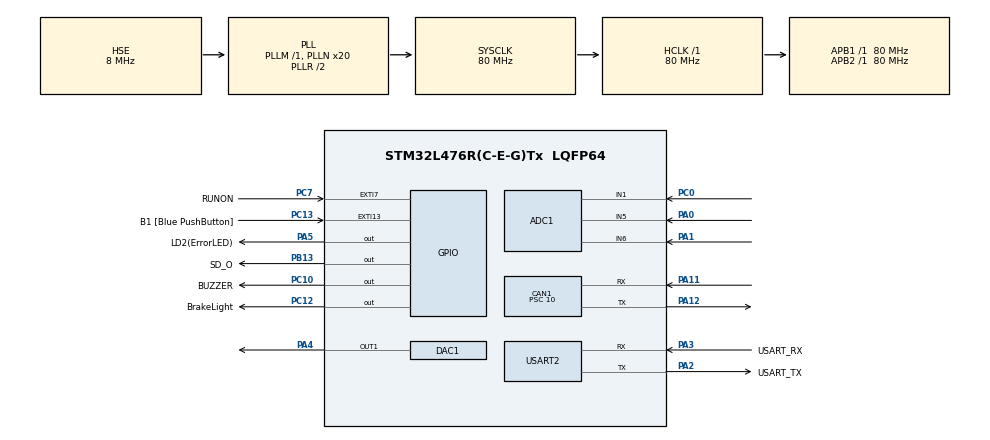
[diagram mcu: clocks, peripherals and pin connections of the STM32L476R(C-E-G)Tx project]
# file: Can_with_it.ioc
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ADC1.Channel-10\#ChannelRegularConversion=ADC_CHANNEL_1
ADC1.Channel-7\#ChannelRegularConversion=ADC_CHANNEL_5
ADC1.Channel-8\#ChannelRegularConversion=ADC_CHANNEL_6
ADC1.ContinuousConvMode=ENABLE
ADC1.DMAContinuousRequests=ENABLE
ADC1.ExternalTrigConv=ADC_EXTERNALTRIG_T6_TRGO
ADC1.ExternalTrigConvEdge=ADC_EXTERNALTRIGCONVEDGE_RISINGFALLING
ADC1.NbrOfConversion=3
ADC1.NbrOfConversionFlag=1
ADC1.OffsetNumber-10\#ChannelRegularConversion=ADC_OFFSET_NONE
ADC1.OffsetNumber-7\#ChannelRegularConversion=ADC_OFFSET_NONE
ADC1.OffsetNumber-8\#ChannelRegularConversion=ADC_OFFSET_NONE
ADC1.Overrun=ADC_OVR_DATA_PRESERVED
ADC1.Rank-10\#ChannelRegularConversion=3
ADC1.Rank-7\#ChannelRegularConversion=1
ADC1.Rank-8\#ChannelRegularConversion=2
ADC1.SamplingTime-10\#ChannelRegularConversion=ADC_SAMPLETIME_247CYCLES_5
ADC1.SamplingTime-7\#ChannelRegularConversion=ADC_SAMPLETIME_247CYCLES_5
ADC1.SamplingTime-8\#ChannelRegularConversion=ADC_SAMPLETIME_247CYCLES_5
ADC1.master=1
CAN1.BS1=CAN_BS1_13TQ
CAN1.BS2=CAN_BS2_2TQ
CAN1.CalculateBaudRate=500000
CAN1.CalculateTimeBit=2000
CAN1.CalculateTimeQuantum=125.0
CAN1.Mode=CAN_MODE_NORMAL
CAN1.Prescaler=10
DAC1.DAC_Trigger-DAC_OUT1=DAC_TRIGGER_T6_TRGO
Dma.ADC1.0.Direction=DMA_PERIPH_TO_MEMORY
Dma.ADC1.0.Instance=DMA1_Channel1
Dma.ADC1.0.MemDataAlignment=DMA_MDATAALIGN_WORD
Dma.ADC1.0.MemInc=DMA_MINC_ENABLE
Dma.ADC1.0.Mode=DMA_CIRCULAR
Dma.ADC1.0.PeriphDataAlignment=DMA_PDATAALIGN_WORD
Dma.ADC1.0.PeriphInc=DMA_PINC_DISABLE
Dma.ADC1.0.Priority=DMA_PRIORITY_VERY_HIGH
Dma.DAC_CH1.1.Direction=DMA_MEMORY_TO_PERIPH
Dma.DAC_CH1.1.Instance=DMA1_Channel3
Dma.DAC_CH1.1.MemDataAlignment=DMA_MDATAALIGN_HALFWORD
Dma.DAC_CH1.1.MemInc=DMA_MINC_ENABLE
Dma.DAC_CH1.1.Mode=DMA_CIRCULAR
Dma.DAC_CH1.1.PeriphDataAlignment=DMA_PDATAALIGN_HALFWORD
Dma.DAC_CH1.1.PeriphInc=DMA_PINC_DISABLE
Dma.DAC_CH1.1.Priority=DMA_PRIORITY_HIGH
Dma.Request0=ADC1
Dma.Request1=DAC_CH1
Mcu.Family=STM32L4
Mcu.Name=STM32L476R(C-E-G)Tx
Mcu.Package=LQFP64
NVIC.CAN1_RX0_IRQn=true\:1\:0\:true\:false\:true\:true\:true\:true
NVIC.CAN1_RX1_IRQn=true\:1\:0\:true\:false\:true\:true\:true\:true
NVIC.CAN1_SCE_IRQn=true\:1\:0\:true\:false\:true\:true\:true\:true
NVIC.CAN1_TX_IRQn=true\:1\:0\:true\:false\:true\:true\:true\:true
NVIC.DMA1_Channel1_IRQn=true\:0\:0\:true\:false\:true\:false\:true\:true
NVIC.DMA1_Channel3_IRQn=true\:0\:0\:true\:false\:true\:false\:true\:true
NVIC.EXTI15_10_IRQn=true\:0\:0\:false\:false\:true\:true\:true\:true
NVIC.PriorityGroup=NVIC_PRIORITYGROUP_4
NVIC.TIM6_DAC_IRQn=true\:0\:0\:true\:false\:true\:true\:true\:true
NVIC.USART2_IRQn=true\:2\:0\:true\:false\:true\:true\:true\:true
PA0.Signal=ADCx_IN5
PA1.Signal=ADCx_IN6
PA11.GPIO_PuPd=GPIO_NOPULL
PA11.Mode=CAN_Activate
PA11.Signal=CAN1_RX
PA12.GPIO_PuPd=GPIO_PULLUP
PA12.Mode=CAN_Activate
PA12.Signal=CAN1_TX
PA13\ (JTMS-SWDIO).GPIO_Label=TMS
PA13\ (JTMS-SWDIO).Mode=Serial_Wire
PA13\ (JTMS-SWDIO).Signal=SYS_JTMS-SWDIO
PA14\ (JTCK-SWCLK).GPIO_Label=TCK
PA14\ (JTCK-SWCLK).Mode=Serial_Wire
PA14\ (JTCK-SWCLK).Signal=SYS_JTCK-SWCLK
PA2.GPIO_Label=USART_TX
PA2.GPIO_Mode=GPIO_MODE_AF_PP
PA2.GPIO_PuPd=GPIO_NOPULL
PA2.GPIO_Speed=GPIO_SPEED_FREQ_VERY_HIGH
PA2.Mode=Asynchronous
PA2.Signal=USART2_TX
PA3.GPIO_Label=USART_RX
PA3.GPIO_Mode=GPIO_MODE_AF_PP
PA3.GPIO_PuPd=GPIO_NOPULL
PA3.GPIO_Speed=GPIO_SPEED_FREQ_VERY_HIGH
PA3.Mode=Asynchronous
PA3.Signal=USART2_RX
PA4.Signal=COMP_DAC11_group
PA5.GPIO_Label=LD2(ErrorLED)
PA5.Signal=GPIO_Output
PB13.GPIO_Label=SD_O
PB13.Signal=GPIO_Output
PB3\ (JTDO-TRACESWO).GPIO_Label=SWO
PB3\ (JTDO-TRACESWO).Signal=SYS_JTDO-SWO
PC0.Signal=ADCx_IN1
PC10.GPIO_Label=BUZZER
PC10.Signal=GPIO_Output
PC12.GPIO_Label=BrakeLight
PC12.Signal=GPIO_Output
PC13.GPIO_Label=B1 [Blue PushButton]
PC13.GPIO_ModeDefaultEXTI=GPIO_MODE_IT_FALLING
PC13.GPIO_PuPd=GPIO_NOPULL
PC13.Signal=GPXTI13
PC14-OSC32_IN\ (PC14).Signal=RCC_OSC32_IN
PC15-OSC32_OUT\ (PC15).Signal=RCC_OSC32_OUT
PC7.GPIO_Label=RUNON
PC7.Signal=GPXTI7
PH0-OSC_IN\ (PH0).Mode=HSE-External-Clock-Source
PH0-OSC_IN\ (PH0).Signal=RCC_OSC_IN
PH1-OSC_OUT\ (PH1).Signal=RCC_OSC_OUT
ProjectManager.HeapSize=0x200
ProjectManager.StackSize=0x400
ProjectManager.TargetToolchain=STM32CubeIDE
RCC.ADCFreq_Value=64000000
RCC.AHBFreq_Value=80000000
RCC.APB1Freq_Value=80000000
RCC.APB1TimFreq_Value=80000000
RCC.APB2Freq_Value=80000000
RCC.APB2TimFreq_Value=80000000
RCC.CortexFreq_Value=80000000
RCC.DATA_CACHE_ENABLE=1
RCC.FLatency=FLASH_LATENCY_4
RCC.HCLKFreq_Value=80000000
RCC.HSE_Timout=100
RCC.HSE_VALUE=8000000
RCC.HSICalibrationValue=16
RCC.HSI_VALUE=16000000
RCC.INSTRUCTION_CACHE_ENABLE=1
RCC.LSE_VALUE=32768
RCC.MSICalibrationValue=0
RCC.MSI_VALUE=4000000
RCC.PLLN=20
RCC.PLLSAI1N=16
RCC.PLLSourceVirtual=RCC_PLLSOURCE_HSE
RCC.PREFETCH_ENABLE=1
RCC.PWR_Regulator_Voltage_Scale=PWR_REGULATOR_VOLTAGE_SCALE1
RCC.SYSCLKFreq_VALUE=80000000
RCC.SYSCLKSource=RCC_SYSCLKSOURCE_PLLCLK
RCC.USBFreq_Value=64000000
RCC.VCOOutputFreq_Value=160000000
SH.ADCx_IN1.0=ADC1_IN1,IN1-Single-Ended
SH.ADCx_IN5.0=ADC1_IN5,IN5-Single-Ended
SH.ADCx_IN6.0=ADC1_IN6,IN6-Single-Ended
SH.COMP_DAC11_group.0=DAC1_OUT1,DAC_OUT1
TIM6.TIM_MasterOutputTrigger=TIM_TRGO_UPDATE
USART2.VirtualMode-Asynchronous=VM_ASYNC
VP_TIM6_VS_ClockSourceINT.Mode=Enable_Timer
board=NUCLEO-L476RG

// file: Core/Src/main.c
/* USER CODE BEGIN Header */
/**
  ******************************************************************************
  * @file           : main.c
  * @brief          : Main program body
  ******************************************************************************
  * @attention
  *
  * Copyright (c) 2024 STMicroelectronics.
  * All rights reserved.
  *
  * This software is licensed under terms that can be found in the LICENSE file
  * in the root directory of this software component.
  * If no LICENSE file comes with this software, it is provided AS-IS.
  *
  ******************************************************************************
  */
/* USER CODE END Header */
#include "main.h"

/* USER CODE BEGIN PD */
#define ADC1IN5 0
#define ADC1IN6 1
#define BRAKEPRESSURE 2
//#define ADC_VREF 0
/* USER CODE END PD */

ADC_HandleTypeDef hadc1;
DMA_HandleTypeDef hdma_adc1;

CAN_HandleTypeDef hcan1;

DAC_HandleTypeDef hdac1;
DMA_HandleTypeDef hdma_dac_ch1;

TIM_HandleTypeDef htim6;

UART_HandleTypeDef huart2;

/* USER CODE BEGIN PV */
/***************ADC VARIABLES***************/
uint32_t rawValues[2];//array to store values from the adc
uint16_t adcVREF;//variable for vrefint channel
uint32_t adcBuffer[3];//buffer for adcinput
uint32_t brakePressure;

/***************DAC VARIABLES***************/
uint32_t dac_val;//function to write value to the dac
uint32_t getDac;//debugging integer for dac

/***************COMMONDATA VARIABLES***************/
bmsData bmsDataObj = {0};
commonData commonDataObj = {0};

/***************CAN VARIABLES***************/
uint16_t data[8];

/***************ERROR CODES***************/
char* adcNcalib = "ADC calibration failure!\r\n";
char* potShortPedal = "Potentiometers have shorted!\r\n";
char* deviationCheckFail = "Deviation is above 10%!\r\n";
char* death = "STM die!\r\n";

/***************DATALOGGING***************/
char msg[100];//debugging array for uart

/***************FLAGS***************/
uint8_t runON = 0;

/* USER CODE END PV */

void SystemClock_Config(void);
static void MX_GPIO_Init(void);
static void MX_DMA_Init(void);
static void MX_USART2_UART_Init(void);
static void MX_CAN1_Init(void);
static void MX_TIM6_Init(void);
static void MX_DAC1_Init(void);
static void MX_ADC1_Init(void);
/* USER CODE BEGIN PFP */
uint32_t dacInput(uint16_t adcinput1, uint16_t adcinput2);

void HAL_TIM_PeriodElapsedCallback(TIM_HandleTypeDef *htim){
	dac_val = dacInput(rawValues[0], rawValues[1]);

	if(brakePressure > 800){
		HAL_GPIO_WritePin(BrakeLight_GPIO_Port, BrakeLight_Pin, GPIO_PIN_SET);
	}else{
		HAL_GPIO_WritePin(BrakeLight_GPIO_Port, BrakeLight_Pin, GPIO_PIN_RESET);
	}
}

void HAL_ADC_ConvCpltCallback(ADC_HandleTypeDef *hadc){
	rawValues[0] = adcBuffer[ADC1IN5];
	rawValues[1] = adcBuffer[ADC1IN6];
	brakePressure = adcBuffer[BRAKEPRESSURE];
}

void ErrorLedBlink(){
	HAL_GPIO_WritePin(LD2_GPIO_Port, LD2_Pin, GPIO_PIN_SET);
	HAL_Delay(500);
	HAL_GPIO_WritePin(LD2_GPIO_Port, LD2_Pin, GPIO_PIN_RESET);
	HAL_Delay(500);
}

void HAL_GPIO_EXTI_Callback(uint16_t GPIO_Pin){
	if(RUNON_Pin){
		runON = 1;
	}
//	else if(B1_Pin){
//
//	}

	//for future interrupts
//	else{
//
//	}
}

/* USER CODE END PFP */

int main(void)
{

  /* MCU Configuration--------------------------------------------------------*/

  /* Reset of all peripherals, Initializes the Flash interface and the Systick. */
  HAL_Init();

  /* Configure the system clock */
  SystemClock_Config();

  /* Initialize all configured peripherals */
  MX_GPIO_Init();
  MX_DMA_Init();
  MX_USART2_UART_Init();
  MX_CAN1_Init();
  MX_TIM6_Init();
  MX_DAC1_Init();
  MX_ADC1_Init();
  /* USER CODE BEGIN 2 */
  uint32_t calibrationValue = HAL_ADCEx_Calibration_GetValue(&hadc1,ADC_SINGLE_ENDED);
  sprintf(msg, "%lu\r\n", calibrationValue);
  LOGS((uint8_t* )msg, strlen(msg));

  HAL_ADCEx_Calibration_SetValue(&hadc1, ADC_SINGLE_ENDED, calibrationValue);

  if(HAL_ADCEx_Calibration_Start(&hadc1, ADC_SINGLE_ENDED)!=HAL_OK){
	  LOGS((uint8_t*)adcNcalib,strlen(adcNcalib));
	  ErrorLedBlink();
	  HAL_ADCEx_Calibration_Start(&hadc1, ADC_SINGLE_ENDED);
  }

  HAL_CAN_Start(&hcan1);
  if(canNotification()!=0){

  }

  uint8_t test[] = {0x0f,0x93,0,0,0,0,0,0};

  HAL_ADC_Start_DMA(&hadc1, adcBuffer, 3);
  HAL_DAC_Start_DMA(&hdac1, DAC_CHANNEL_1, &dac_val, 1, DAC_ALIGN_12B_R);
  HAL_TIM_Base_Start_IT(&htim6);

  /* USER CODE END 2 */

  /* Infinite loop */
  /* USER CODE BEGIN WHILE */
  while (1)
  {
	  canTransmit(test);
//	  sprintf(msg,"adc1 val: %hu\r\nadc2 val: %hu\r\ndac val: %hu\r\n",(uint16_t)rawValues[0],(uint16_t)rawValues[1],(uint16_t)HAL_DAC_GetValue(&hdac1, DAC_CHANNEL_1));
//	  LOGS((uint8_t*)msg,strlen(msg));
//
//	  sprintf(msg,"deviation: %hu\r\n",data[2]);
//	  LOGS((uint8_t*)msg,strlen(msg));
//
//	  sprintf(msg,"%hu %hu\r\n",data[0],data[1]);
//	  LOGS((uint8_t*)msg,strlen(msg));
//
//	  getDac = HAL_DAC_GetValue(&hdac1, DAC_CHANNEL_1);
//	  sprintf(msg,"dac:%lu\r\n",getDac);
//	  LOGS((uint8_t*)msg,strlen(msg));
//	  getDac = HAL_DAC_GetValue(&hdac1, DAC_CHANNEL_1);

//	  sprintf(msg,"99 %hu\n",(uint16_t)getDac);

//	  LOGS((uint8_t*)msg,strlen(msg));

	  if(runON==1){
		  HAL_GPIO_WritePin(BUZZER_GPIO_Port, BUZZER_Pin, GPIO_PIN_SET);
		  runON = 0;
	  }else{
		  HAL_GPIO_WritePin(BUZZER_GPIO_Port, BUZZER_Pin, GPIO_PIN_RESET);
	  }

	  HAL_Delay(1000);
    /* USER CODE END WHILE */

  }
}

void SystemClock_Config(void)
{
  RCC_OscInitTypeDef RCC_OscInitStruct = {0};
  RCC_ClkInitTypeDef RCC_ClkInitStruct = {0};

  /** Configure the main internal regulator output voltage
  */
  if (HAL_PWREx_ControlVoltageScaling(PWR_REGULATOR_VOLTAGE_SCALE1) != HAL_OK)
  {
    Error_Handler();
  }

  /** Initializes the RCC Oscillators according to the specified parameters
  * in the RCC_OscInitTypeDef structure.
  */
  RCC_OscInitStruct.OscillatorType = RCC_OSCILLATORTYPE_HSE;
  RCC_OscInitStruct.HSEState = RCC_HSE_BYPASS;
  RCC_OscInitStruct.PLL.PLLState = RCC_PLL_ON;
  RCC_OscInitStruct.PLL.PLLSource = RCC_PLLSOURCE_HSE;
  RCC_OscInitStruct.PLL.PLLM = 1;
  RCC_OscInitStruct.PLL.PLLN = 20;
  RCC_OscInitStruct.PLL.PLLP = RCC_PLLP_DIV7;
  RCC_OscInitStruct.PLL.PLLQ = RCC_PLLQ_DIV2;
  RCC_OscInitStruct.PLL.PLLR = RCC_PLLR_DIV2;
  if (HAL_RCC_OscConfig(&RCC_OscInitStruct) != HAL_OK)
  {
    Error_Handler();
  }

  /** Initializes the CPU, AHB and APB buses clocks
  */
  RCC_ClkInitStruct.ClockType = RCC_CLOCKTYPE_HCLK|RCC_CLOCKTYPE_SYSCLK
                              |RCC_CLOCKTYPE_PCLK1|RCC_CLOCKTYPE_PCLK2;
  RCC_ClkInitStruct.SYSCLKSource = RCC_SYSCLKSOURCE_PLLCLK;
  RCC_ClkInitStruct.AHBCLKDivider = RCC_SYSCLK_DIV1;
  RCC_ClkInitStruct.APB1CLKDivider = RCC_HCLK_DIV1;
  RCC_ClkInitStruct.APB2CLKDivider = RCC_HCLK_DIV1;

  if (HAL_RCC_ClockConfig(&RCC_ClkInitStruct, FLASH_LATENCY_4) != HAL_OK)
  {
    Error_Handler();
  }
}

static void MX_ADC1_Init(void)
{

  ADC_MultiModeTypeDef multimode = {0};
  ADC_ChannelConfTypeDef sConfig = {0};

  /** Common config
  */
  hadc1.Instance = ADC1;
  hadc1.Init.ClockPrescaler = ADC_CLOCK_ASYNC_DIV1;
  hadc1.Init.Resolution = ADC_RESOLUTION_12B;
  hadc1.Init.DataAlign = ADC_DATAALIGN_RIGHT;
  hadc1.Init.ScanConvMode = ADC_SCAN_ENABLE;
  hadc1.Init.EOCSelection = ADC_EOC_SINGLE_CONV;
  hadc1.Init.LowPowerAutoWait = DISABLE;
  hadc1.Init.ContinuousConvMode = ENABLE;
  hadc1.Init.NbrOfConversion = 3;
  hadc1.Init.DiscontinuousConvMode = DISABLE;
  hadc1.Init.ExternalTrigConv = ADC_EXTERNALTRIG_T6_TRGO;
  hadc1.Init.ExternalTrigConvEdge = ADC_EXTERNALTRIGCONVEDGE_RISINGFALLING;
  hadc1.Init.DMAContinuousRequests = ENABLE;
  hadc1.Init.Overrun = ADC_OVR_DATA_PRESERVED;
  hadc1.Init.OversamplingMode = DISABLE;
  if (HAL_ADC_Init(&hadc1) != HAL_OK)
  {
    Error_Handler();
  }

  /** Configure the ADC multi-mode
  */
  multimode.Mode = ADC_MODE_INDEPENDENT;
  if (HAL_ADCEx_MultiModeConfigChannel(&hadc1, &multimode) != HAL_OK)
  {
    Error_Handler();
  }

  /** Configure Regular Channel
  */
  sConfig.Channel = ADC_CHANNEL_5;
  sConfig.Rank = ADC_REGULAR_RANK_1;
  sConfig.SamplingTime = ADC_SAMPLETIME_247CYCLES_5;
  sConfig.SingleDiff = ADC_SINGLE_ENDED;
  sConfig.OffsetNumber = ADC_OFFSET_NONE;
  sConfig.Offset = 0;
  if (HAL_ADC_ConfigChannel(&hadc1, &sConfig) != HAL_OK)
  {
    Error_Handler();
  }

  /** Configure Regular Channel
  */
  sConfig.Channel = ADC_CHANNEL_6;
  sConfig.Rank = ADC_REGULAR_RANK_2;
  if (HAL_ADC_ConfigChannel(&hadc1, &sConfig) != HAL_OK)
  {
    Error_Handler();
  }

  /** Configure Regular Channel
  */
  sConfig.Channel = ADC_CHANNEL_1;
  sConfig.Rank = ADC_REGULAR_RANK_3;
  if (HAL_ADC_ConfigChannel(&hadc1, &sConfig) != HAL_OK)
  {
    Error_Handler();
  }

}

static void MX_CAN1_Init(void)
{

  /* USER CODE BEGIN CAN1_Init 1 */
	CAN_FilterTypeDef sFilterConfig;

  /* USER CODE END CAN1_Init 1 */
  hcan1.Instance = CAN1;
  hcan1.Init.Prescaler = 10;
  hcan1.Init.Mode = CAN_MODE_NORMAL;
  hcan1.Init.SyncJumpWidth = CAN_SJW_1TQ;
  hcan1.Init.TimeSeg1 = CAN_BS1_13TQ;
  hcan1.Init.TimeSeg2 = CAN_BS2_2TQ;
  hcan1.Init.TimeTriggeredMode = DISABLE;
  hcan1.Init.AutoBusOff = DISABLE;
  hcan1.Init.AutoWakeUp = DISABLE;
  hcan1.Init.AutoRetransmission = DISABLE;
  hcan1.Init.ReceiveFifoLocked = DISABLE;
  hcan1.Init.TransmitFifoPriority = DISABLE;
  if (HAL_CAN_Init(&hcan1) != HAL_OK)
  {
    Error_Handler();
  }
  /* USER CODE BEGIN CAN1_Init 2 */
  sFilterConfig.FilterBank = 0;
  sFilterConfig.FilterMode = CAN_FILTERMODE_IDMASK;
  sFilterConfig.FilterScale = CAN_FILTERSCALE_32BIT;
  sFilterConfig.FilterIdHigh = 0x0000;
  sFilterConfig.FilterIdLow = 0x0000;
  sFilterConfig.FilterMaskIdHigh = 0x0000;
  sFilterConfig.FilterMaskIdLow = 0x0000;
  sFilterConfig.FilterFIFOAssignment = CAN_RX_FIFO0;
  sFilterConfig.FilterActivation = ENABLE;
  sFilterConfig.SlaveStartFilterBank = 14;

  if(HAL_CAN_ConfigFilter(&hcan1, &sFilterConfig) != HAL_OK){
      /* Filter configuration Error */
      Error_Handler();
    }

  sFilterConfig.FilterBank = 1;
  sFilterConfig.FilterMode = CAN_FILTERMODE_IDMASK;
  sFilterConfig.FilterScale = CAN_FILTERSCALE_32BIT;
  sFilterConfig.FilterIdHigh = 0x0000;
  sFilterConfig.FilterIdLow = 0x0000;
  sFilterConfig.FilterMaskIdHigh = 0x0000;
  sFilterConfig.FilterMaskIdLow = 0x0000;
  sFilterConfig.FilterFIFOAssignment = CAN_RX_FIFO1;
  sFilterConfig.FilterActivation = ENABLE;
  sFilterConfig.SlaveStartFilterBank = 14;

    if(HAL_CAN_ConfigFilter(&hcan1, &sFilterConfig) != HAL_OK){
        /* Filter configuration Error */
        Error_Handler();
      }
  /* USER CODE END CAN1_Init 2 */

}

static void MX_DAC1_Init(void)
{

  DAC_ChannelConfTypeDef sConfig = {0};

  /** DAC Initialization
  */
  hdac1.Instance = DAC1;
  if (HAL_DAC_Init(&hdac1) != HAL_OK)
  {
    Error_Handler();
  }

  /** DAC channel OUT1 config
  */
  sConfig.DAC_SampleAndHold = DAC_SAMPLEANDHOLD_DISABLE;
  sConfig.DAC_Trigger = DAC_TRIGGER_T6_TRGO;
  sConfig.DAC_OutputBuffer = DAC_OUTPUTBUFFER_ENABLE;
  sConfig.DAC_ConnectOnChipPeripheral = DAC_CHIPCONNECT_DISABLE;
  sConfig.DAC_UserTrimming = DAC_TRIMMING_FACTORY;
  if (HAL_DAC_ConfigChannel(&hdac1, &sConfig, DAC_CHANNEL_1) != HAL_OK)
  {
    Error_Handler();
  }

}

static void MX_TIM6_Init(void)
{

  TIM_MasterConfigTypeDef sMasterConfig = {0};

  htim6.Instance = TIM6;
  htim6.Init.Prescaler = 0;
  htim6.Init.CounterMode = TIM_COUNTERMODE_UP;
  htim6.Init.Period = 65535;
  htim6.Init.AutoReloadPreload = TIM_AUTORELOAD_PRELOAD_DISABLE;
  if (HAL_TIM_Base_Init(&htim6) != HAL_OK)
  {
    Error_Handler();
  }
  sMasterConfig.MasterOutputTrigger = TIM_TRGO_UPDATE;
  sMasterConfig.MasterSlaveMode = TIM_MASTERSLAVEMODE_DISABLE;
  if (HAL_TIMEx_MasterConfigSynchronization(&htim6, &sMasterConfig) != HAL_OK)
  {
    Error_Handler();
  }

}

static void MX_USART2_UART_Init(void)
{

  huart2.Instance = USART2;
  huart2.Init.BaudRate = 115200;
  huart2.Init.WordLength = UART_WORDLENGTH_8B;
  huart2.Init.StopBits = UART_STOPBITS_1;
  huart2.Init.Parity = UART_PARITY_NONE;
  huart2.Init.Mode = UART_MODE_TX_RX;
  huart2.Init.HwFlowCtl = UART_HWCONTROL_NONE;
  huart2.Init.OverSampling = UART_OVERSAMPLING_16;
  huart2.Init.OneBitSampling = UART_ONE_BIT_SAMPLE_DISABLE;
  huart2.AdvancedInit.AdvFeatureInit = UART_ADVFEATURE_NO_INIT;
  if (HAL_UART_Init(&huart2) != HAL_OK)
  {
    Error_Handler();
  }

}

static void MX_DMA_Init(void)
{

  /* DMA controller clock enable */
  __HAL_RCC_DMA1_CLK_ENABLE();

  /* DMA interrupt init */
  /* DMA1_Channel1_IRQn interrupt configuration */
  HAL_NVIC_SetPriority(DMA1_Channel1_IRQn, 0, 0);
  HAL_NVIC_EnableIRQ(DMA1_Channel1_IRQn);
  /* DMA1_Channel3_IRQn interrupt configuration */
  HAL_NVIC_SetPriority(DMA1_Channel3_IRQn, 0, 0);
  HAL_NVIC_EnableIRQ(DMA1_Channel3_IRQn);

}

static void MX_GPIO_Init(void)
{
  GPIO_InitTypeDef GPIO_InitStruct = {0};

  /* GPIO Ports Clock Enable */
  __HAL_RCC_GPIOC_CLK_ENABLE();
  __HAL_RCC_GPIOH_CLK_ENABLE();
  __HAL_RCC_GPIOA_CLK_ENABLE();
  __HAL_RCC_GPIOB_CLK_ENABLE();

  /*Configure GPIO pin Output Level */
  HAL_GPIO_WritePin(LD2_GPIO_Port, LD2_Pin, GPIO_PIN_RESET);

  /*Configure GPIO pin Output Level */
  HAL_GPIO_WritePin(SD_O_GPIO_Port, SD_O_Pin, GPIO_PIN_RESET);

  /*Configure GPIO pin Output Level */
  HAL_GPIO_WritePin(GPIOC, BUZZER_Pin|BrakeLight_Pin, GPIO_PIN_RESET);

  /*Configure GPIO pin : B1_Pin */
  GPIO_InitStruct.Pin = B1_Pin;
  GPIO_InitStruct.Mode = GPIO_MODE_IT_FALLING;
  GPIO_InitStruct.Pull = GPIO_NOPULL;
  HAL_GPIO_Init(B1_GPIO_Port, &GPIO_InitStruct);

  /*Configure GPIO pin : LD2_Pin */
  GPIO_InitStruct.Pin = LD2_Pin;
  GPIO_InitStruct.Mode = GPIO_MODE_OUTPUT_PP;
  GPIO_InitStruct.Pull = GPIO_NOPULL;
  GPIO_InitStruct.Speed = GPIO_SPEED_FREQ_LOW;
  HAL_GPIO_Init(LD2_GPIO_Port, &GPIO_InitStruct);

  /*Configure GPIO pin : SD_O_Pin */
  GPIO_InitStruct.Pin = SD_O_Pin;
  GPIO_InitStruct.Mode = GPIO_MODE_OUTPUT_PP;
  GPIO_InitStruct.Pull = GPIO_NOPULL;
  GPIO_InitStruct.Speed = GPIO_SPEED_FREQ_LOW;
  HAL_GPIO_Init(SD_O_GPIO_Port, &GPIO_InitStruct);

  /*Configure GPIO pin : RUNON_Pin */
  GPIO_InitStruct.Pin = RUNON_Pin;
  GPIO_InitStruct.Mode = GPIO_MODE_IT_RISING;
  GPIO_InitStruct.Pull = GPIO_NOPULL;
  HAL_GPIO_Init(RUNON_GPIO_Port, &GPIO_InitStruct);

  /*Configure GPIO pins : BUZZER_Pin BrakeLight_Pin */
  GPIO_InitStruct.Pin = BUZZER_Pin|BrakeLight_Pin;
  GPIO_InitStruct.Mode = GPIO_MODE_OUTPUT_PP;
  GPIO_InitStruct.Pull = GPIO_NOPULL;
  GPIO_InitStruct.Speed = GPIO_SPEED_FREQ_LOW;
  HAL_GPIO_Init(GPIOC, &GPIO_InitStruct);

  /* EXTI interrupt init*/
  HAL_NVIC_SetPriority(EXTI15_10_IRQn, 0, 0);
  HAL_NVIC_EnableIRQ(EXTI15_10_IRQn);

}

/* USER CODE BEGIN 4 */

//uint32_t dacInput(uint16_t adcinput1, uint16_t adcinput2, uint16_t vref){
//	static uint16_t counter = 0;
//	static uint32_t rawcheck1 = 0;
//	static uint32_t rawcheck2 = 0;
//
//	uint16_t vrefint_cal = *((uint16_t*)VREFINT_CAL_ADDR);
//
//	uint32_t out = 0;
//
//	uint16_t vrefInt;
//	if (vref == 0){
//		vrefInt = 4096;
//	}else{
//		vrefInt = vref;
//	}
//
//	uint32_t raw1 = (3000*(uint32_t)vrefint_cal*adcinput1)/(vrefInt*4096);
//	uint32_t raw2 = (9/8)*(3000*(uint32_t)vrefint_cal*adcinput2)/(vrefInt*4096);
//
//	uint32_t deviationCheck = (abs(raw1-raw2)/4095)*100;
//
//	data[2] = deviationCheck;
//
//	//check if both values are same for 1 second
//	if((raw1!=0) && (raw2!=0) && raw1 == raw2){
//		//check if raw1 is continuously the same
//		if((raw1 != rawcheck1) && (raw2 != rawcheck2)){
//			counter = 0;
//		}
//		//set static value to be compared later
//		rawcheck1 = raw1;
//		rawcheck2 = raw2;
//
//		counter++;
//
//		if(counter > 999){
//			counter = 0;
//			//compare to see if they are still the same
//			if(rawcheck1 == raw1 && rawcheck2 == raw2){
//				out = 0;
//				LOGS(potShortPedal,strlen(potShortPedal));
////				Error_Handler();
//			}
//		}
//	}
//	//check deviation
//	else if(deviationCheck>0.1){
//		out = 0;
////		LOGS(deviationCheckFail,strlen(deviationCheckFail));
////		Error_Handler();
//	}
//	//regular output function(average value)
//	else{
//		raw1 = (raw1)*4096/3300;
//		raw2 = (raw2)*4096/3300;
//		out = ((raw1+raw2)/2);
//	}
//
//	data[0] = raw1;
//	data[1] = raw2;
//
//	return out;
//}

uint32_t dacInput(uint16_t adcinput1, uint16_t adcinput2){
	static uint16_t counter = 0;
	static uint32_t rawcheck1 = 0;
	static uint32_t rawcheck2 = 0;

	uint32_t out = 0;

	uint32_t raw1 = 0.72*((1.208)*adcinput1)+748;
	uint32_t raw2 = adcinput2;

	data[0] = raw1;
	data[1] = raw2;

	uint8_t deviationCheck = ((abs((float) raw1 - (float) raw2) / 4095.00))* 100;

	data[2] = (uint16_t) deviationCheck;

	//check if both values are same for 1 second
	if ((raw1 != 0) && (raw2 != 0) && raw1 == raw2) {
		//check if raw1 is continuously the same
		if ((raw1 != rawcheck1) && (raw2 != rawcheck2)) {
			counter = 0;
		}
		//set static value to be compared later
		rawcheck1 = raw1;
		rawcheck2 = raw2;

		counter++;

		if (counter > 999) {
		//compare to see if they are still the same
			if (rawcheck1 == raw1 && rawcheck2 == raw2) {
				out = 0;
				//LOGS((uint8_t*)potShortPedal,strlen(potShortPedal));
				//Error_Handler();
			}
			counter = 0;
			}
		}
	//check deviation
	else if (deviationCheck > 10) {
		HAL_GPIO_WritePin(SD_O_GPIO_Port, SD_O_Pin, GPIO_PIN_SET);
		out = 0;
		//LOGS((uint8_t*)deviationCheckFail,strlen(deviationCheckFail));
		//Error_Handler();
	}

	//regular output function(average value)
	else {
		out = ((raw1 + raw2) / 2);
		uint16_t out_16 = out;

		commonDataObj.torqueHigh = (uint8_t)(out_16 & 0xFF00);
		commonDataObj.torqueLow = (uint8_t)(out_16 & 0x00FF);
	}
	return out;

}

/* USER CODE END 4 */

void Error_Handler(void)
{
  /* USER CODE BEGIN Error_Handler_Debug */
  /* User can add his own implementation to report the HAL error return state */
  __disable_irq();
  while (1)
  {
	  ErrorLedBlink();
  }
  /* USER CODE END Error_Handler_Debug */
}
